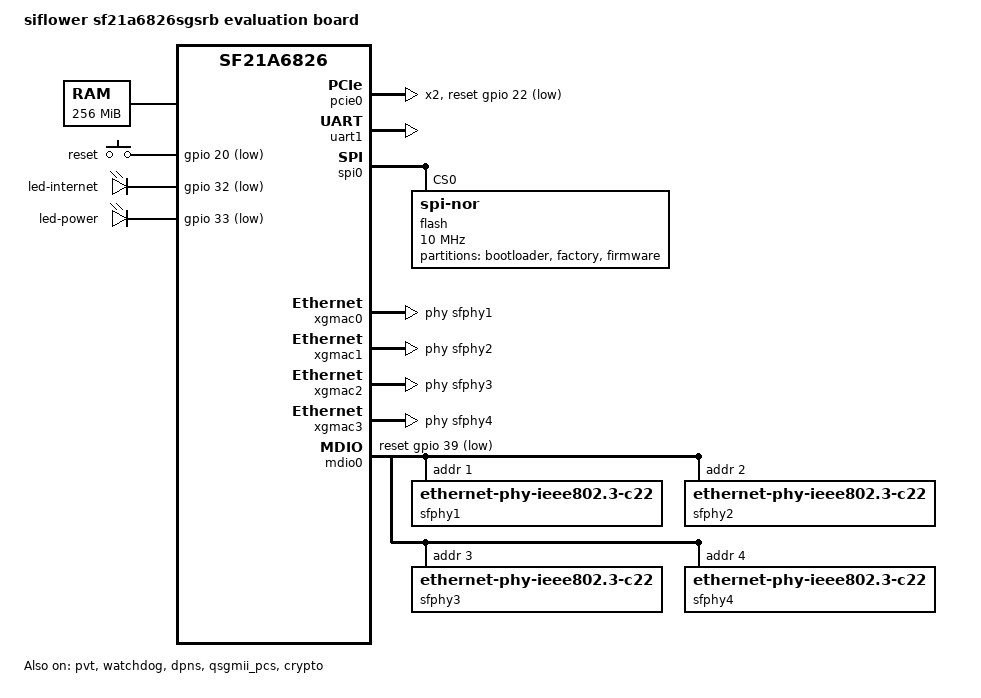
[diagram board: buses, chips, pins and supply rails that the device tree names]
/*
 * Copyright 2022 SiFlower Corporation.
 */

/dts-v1/;
#include "sf21a6826-fullmask.dtsi"

/ {
	model = "siflower sf21a6826sgsrb evaluation board";
	compatible = "siflower,sf21a6826-6826sgsrb", "siflower,sf21a6826";

	chosen {
		stdout-path = "serial1:115200n8";
	};

	memory@20000000 {
		device_type = "memory";
		reg = <0x0 0x20000000 0x0 0x10000000>;
	};

	gpio_keys {
		compatible = "gpio-keys";
		reset {
			label = "reset";
			linux,code = <KEY_RESTART>;
			gpios = <&gpio 20 GPIO_ACTIVE_LOW>;
			debounce-interval = <20>;
		};
	};
};

&cpus {
	timebase-frequency = <1250000000>;
};

&topcrm {
	assigned-clocks = <&topcrm CLK_CMNPLL_VCO>, <&topcrm CLK_PIC>, <&topcrm CLK_AXI>,
		<&topcrm CLK_AHB>, <&topcrm CLK_APB>, <&topcrm CLK_UART>,
		<&topcrm CLK_IRAM>, <&topcrm CLK_NPU>, <&topcrm CLK_ETHTSU>,
		<&topcrm CLK_GMAC_BYP_REF>, <&topcrm CLK_USB>, <&topcrm CLK_USBPHY>,
		<&topcrm CLK_SERDES_CSR>, <&topcrm CLK_CRYPT_CSR>, <&topcrm CLK_CRYPT_APP>,
		<&topcrm CLK_IROM>, <&topcrm CLK_PLL_TEST>;
	assigned-clock-rates = <2500000000>, <416666666>, <416666666>,
		<250000000>, <178571428>, <89285714>,
		<416666666>, <416666666>, <89285714>,
		<250000000>, <250000000>, <50000000>,
		<89285714>, <73529411>, <312500000>,
		<312500000>, <25000000>;
};

&pvt {
	status = "okay";
};

&pcie0 {
	reset-gpios = <&gpio 22 GPIO_ACTIVE_LOW>;
	reset-ms = <100>;
	num-lanes = <2>;
	lane-mode = <1>;
	status = "okay";

	pcie@0,0 {
		reg = <0x0000 0 0 0 0>;
		#address-cells = <3>;
		#size-cells = <2>;

		wifi@0,0 {
			reg = <0x0 0 0 0 0>;
			nvmem-cells = <&mtd_mac_address>, <&mtd_wifi_version>, <&mtd_wifi_info>, <&mtd_rssi_offset>, <&mtd_refpower>, <&mtd_calipower>;
			nvmem-cell-names = "mac-address", "wifi-version", "wifi-info", "rssi-offset", "refpower", "calipower";
			mac-address-increment = <2>;
		};

		wifi@0,1 {
			reg = <0x100 0 0 0 0>;
			nvmem-cells = <&mtd_mac_address>, <&mtd_wifi_version>, <&mtd_wifi_info>, <&mtd_rssi_offset>, <&mtd_refpower>, <&mtd_calipower>;
			nvmem-cell-names = "mac-address", "wifi-version", "wifi-info", "rssi-offset", "refpower", "calipower";
			mac-address-increment = <6>;
		};
	};
};

&pcie1 {
	reset-ms = <100>;
	num-lanes = <1>;
	lane-mode = <0>;
	status = "disabled";
};

&watchdog {
	status = "okay";
};

&uart1 {
	status = "okay";
};

&leds {
	status = "okay";
	led-internet {
		label = "led-internet";
		gpios = <&gpio 32 GPIO_ACTIVE_LOW>;
		linux,default-trigger = "none";
	};
	led-power {
		label = "led-power";
		gpios = <&gpio 33 GPIO_ACTIVE_LOW>;
		linux,default-trigger = "default-on";
	};
};

&spi0 {
	status = "okay";
	flash@0 {
		compatible = "jedec,spi-nor";
		reg = <0>;
		spi-max-frequency = <10000000>;
		spi-tx-bus-width = <4>;
		spi-rx-bus-width = <4>;
		#address-cells = <1>;
		#size-cells = <1>;
	        partitions {
	            compatible = "fixed-partitions";
		        #address-cells = <1>;
			    #size-cells = <1>;

				partition0@0 {
					label = "bootloader";
					reg = <0x0 0x90000>;
					read-only;
				};
				factory:partition1@90000 {
					label = "factory";
					reg = <0x90000 0x10000>;
				};
				partition2@a0000 {
					label = "firmware";
					reg = <0xa0000 (-1)>;
					compatible = "denx,fit";
				};
			};
	};
};

&i2c0 {
	status = "disabled";
};

&xgmac0 {
	status = "okay";
	phy-handle = <&sfphy1>;
	nvmem-cells = <&mtd_mac_address>;
	nvmem-cell-names = "mac-address";
};

&xgmac1 {
	status = "okay";
	phy-handle = <&sfphy2>;
	nvmem-cells = <&mtd_mac_address>;
	nvmem-cell-names = "mac-address";
};

&xgmac2 {
	status = "okay";
	phy-handle = <&sfphy3>;
	nvmem-cells = <&mtd_mac_address>;
	nvmem-cell-names = "mac-address";
};

&xgmac3 {
	status = "okay";
	phy-handle = <&sfphy4>;
	nvmem-cells = <&mtd_mac_address>;
	nvmem-cell-names = "mac-address";
	mac-address-increment = <1>;
};


&mdio0 {
	reset-gpios = <&gpio 39 GPIO_ACTIVE_LOW>;
	reset-delay-us = <10000>;
	reset-post-delay-us = <100000>;

	sfphy1: ethernet-phy@1 {
		compatible = "ethernet-phy-ieee802.3-c22";
		reg = <0x1>;
	};

	sfphy2: ethernet-phy@2 {
		compatible = "ethernet-phy-ieee802.3-c22";
		reg = <0x2>;
	};

	sfphy3: ethernet-phy@3 {
		compatible = "ethernet-phy-ieee802.3-c22";
		reg = <0x3>;
	};

	sfphy4: ethernet-phy@4 {
		compatible = "ethernet-phy-ieee802.3-c22";
		reg = <0x4>;
	};
};

&dpns {
	status = "okay";
};

&edma {
	status = "okay";
};

&qsgmii_pcs {
	status = "okay";
};

&crypto {
	status = "okay";
};

#include "sf21a6826-factory.dtsi"
